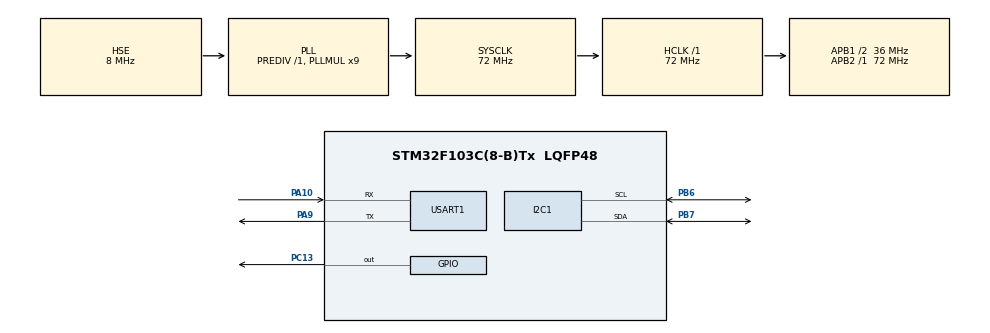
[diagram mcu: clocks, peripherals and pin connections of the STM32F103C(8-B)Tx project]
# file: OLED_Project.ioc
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Mcu.Family=STM32F1
Mcu.Name=STM32F103C(8-B)Tx
Mcu.Package=LQFP48
NVIC.PriorityGroup=NVIC_PRIORITYGROUP_4
PA10.Mode=Asynchronous
PA10.Signal=USART1_RX
PA13.Mode=Serial_Wire
PA13.Signal=SYS_JTMS-SWDIO
PA14.Mode=Serial_Wire
PA14.Signal=SYS_JTCK-SWCLK
PA9.Mode=Asynchronous
PA9.Signal=USART1_TX
PB6.Mode=I2C
PB6.Signal=I2C1_SCL
PB7.Mode=I2C
PB7.Signal=I2C1_SDA
PC13-TAMPER-RTC.Signal=GPIO_Output
PD0-OSC_IN.Mode=HSE-External-Oscillator
PD0-OSC_IN.Signal=RCC_OSC_IN
PD1-OSC_OUT.Mode=HSE-External-Oscillator
PD1-OSC_OUT.Signal=RCC_OSC_OUT
ProjectManager.HeapSize=0x200
ProjectManager.StackSize=0x400
ProjectManager.TargetToolchain=MDK-ARM V5
RCC.AHBFreq_Value=72000000
RCC.APB1CLKDivider=RCC_HCLK_DIV2
RCC.APB1Freq_Value=36000000
RCC.APB1TimFreq_Value=72000000
RCC.APB2Freq_Value=72000000
RCC.APB2TimFreq_Value=72000000
RCC.HCLKFreq_Value=72000000
RCC.PLLMUL=RCC_PLL_MUL9
RCC.PLLSourceVirtual=RCC_PLLSOURCE_HSE
RCC.SYSCLKFreq_VALUE=72000000
RCC.SYSCLKSource=RCC_SYSCLKSOURCE_PLLCLK
RCC.USBFreq_Value=72000000
USART1.VirtualMode=VM_ASYNC
board=custom

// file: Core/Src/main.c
#include "main.h"
#include "i2c.h"
#include "usart.h"
#include "gpio.h"
#include <stdio.h>
#include <string.h>

void SystemClock_Config(void);
uint8_t OLED_Test_Communication(void);

int main(void)
{
  HAL_Init();
  SystemClock_Config();
  MX_GPIO_Init();
  MX_I2C1_Init();
  MX_USART1_UART_Init();

  /* USER CODE BEGIN 2 */
  // 最基础的测试 - 不依赖任何复杂逻辑
  uint8_t test_msg[] = "!!! 基础硬件测试 !!!\r\n";
  HAL_UART_Transmit(&huart1, test_msg, sizeof(test_msg)-1, 1000);

  // 测试LED
  HAL_GPIO_WritePin(GPIOC, GPIO_PIN_13, GPIO_PIN_SET);
  uint8_t led_msg[] = "LED应该亮了\r\n";
  HAL_UART_Transmit(&huart1, led_msg, sizeof(led_msg)-1, 1000);
  HAL_Delay(1000);

  HAL_GPIO_WritePin(GPIOC, GPIO_PIN_13, GPIO_PIN_RESET);
  uint8_t led_off[] = "LED应该灭了\r\n";
  HAL_UART_Transmit(&huart1, led_off, sizeof(led_off)-1, 1000);
  HAL_Delay(1000);

  // 测试I2C扫描
  uint8_t scan_msg[] = "开始I2C设备扫描...\r\n";
  HAL_UART_Transmit(&huart1, scan_msg, sizeof(scan_msg)-1, 1000);

  uint8_t found = 0;
  for(uint8_t addr = 1; addr < 127; addr++)
  {
      if(HAL_I2C_IsDeviceReady(&hi2c1, addr << 1, 3, 10) == HAL_OK)
      {
          uint8_t device_msg[30];
          int len = sprintf((char*)device_msg, "发现设备: 0x%02X\r\n", addr);
          HAL_UART_Transmit(&huart1, device_msg, len, 1000);
          found++;
      }
  }

  if(found == 0)
  {
      uint8_t no_devices[] = "!!! 未发现任何I2C设备 !!!\r\n";
      HAL_UART_Transmit(&huart1, no_devices, sizeof(no_devices)-1, 1000);
  }
  else
  {
      uint8_t found_msg[30];
      int len = sprintf((char*)found_msg, "扫描完成，发现 %d 个设备\r\n", found);
      HAL_UART_Transmit(&huart1, found_msg, len, 1000);
  }

  // OLED专用测试
  uint8_t oled_test_msg[] = "\r\n=== OLED通信测试 ===\r\n";
  HAL_UART_Transmit(&huart1, oled_test_msg, sizeof(oled_test_msg)-1, 1000);

  uint8_t oled_result = OLED_Test_Communication();
  if(oled_result == 0)
  {
      uint8_t oled_ok[] = "? OLED通信正常！\r\n";
      HAL_UART_Transmit(&huart1, oled_ok, sizeof(oled_ok)-1, 1000);
  }
  else
  {
      uint8_t oled_fail[60];
      int len = sprintf((char*)oled_fail, "? OLED通信失败！错误代码: %d\r\n", oled_result);
      HAL_UART_Transmit(&huart1, oled_fail, len, 1000);

      // 根据错误代码给出建议
      if(oled_result == 1)
      {
          uint8_t suggestion[] = "建议: 尝试I2C地址 0x3D\r\n";
          HAL_UART_Transmit(&huart1, suggestion, sizeof(suggestion)-1, 1000);
      }
      else if(oled_result == 2)
      {
          uint8_t suggestion[] = "建议: 检查电源和上拉电阻\r\n";
          HAL_UART_Transmit(&huart1, suggestion, sizeof(suggestion)-1, 1000);
      }
  }

  uint8_t ready_msg[] = "系统就绪，进入主循环\r\n";
  HAL_UART_Transmit(&huart1, ready_msg, sizeof(ready_msg)-1, 1000);
  /* USER CODE END 2 */

  /* USER CODE BEGIN WHILE */
  uint32_t counter = 0;
  while (1)
  {
    // 简单的心跳信号
    HAL_GPIO_TogglePin(GPIOC, GPIO_PIN_13);

    uint8_t heartbeat[40];
    int len = sprintf((char*)heartbeat, "心跳: %lu, OLED状态: %s\r\n",
                     counter++,
                     (OLED_Test_Communication() == 0) ? "正常" : "异常");
    HAL_UART_Transmit(&huart1, heartbeat, len, 1000);

    HAL_Delay(1000);
  }
  /* USER CODE END WHILE */
}

// OLED通信测试函数
uint8_t OLED_Test_Communication(void)
{
    uint8_t oled_addresses[] = {0x3C, 0x3D, 0x78, 0x7A};
    char* address_names[] = {"0x3C", "0x3D", "0x78", "0x7A"};

    uint8_t found = 0;

    // 先扫描所有地址，显示详细结果
    uint8_t scan_msg[] = "详细扫描OLED地址:\r\n";
    HAL_UART_Transmit(&huart1, scan_msg, sizeof(scan_msg)-1, 1000);

    for(int i = 0; i < 4; i++)
    {
        uint8_t msg[60];
        HAL_I2C_StateTypeDef i2c_state = HAL_I2C_GetState(&hi2c1);

        int len = sprintf((char*)msg, "测试地址 %s (0x%02X)... ", address_names[i], oled_addresses[i]);
        HAL_UART_Transmit(&huart1, msg, len, 1000);

        HAL_StatusTypeDef result = HAL_I2C_IsDeviceReady(&hi2c1, oled_addresses[i], 3, 10);

        if(result == HAL_OK)
        {
            uint8_t found_msg[] = "设备响应 ?\r\n";
            HAL_UART_Transmit(&huart1, found_msg, sizeof(found_msg)-1, 1000);
            found = 1;

            // 测试发送命令
            uint8_t test_cmd = 0xAE; // 关闭显示
            if(HAL_I2C_Master_Transmit(&hi2c1, oled_addresses[i], &test_cmd, 1, 100) == HAL_OK)
            {
                uint8_t cmd_msg[] = "  命令发送成功 ?\r\n";
                HAL_UART_Transmit(&huart1, cmd_msg, sizeof(cmd_msg)-1, 1000);
            }
            else
            {
                uint8_t cmd_msg[] = "  命令发送失败 ?\r\n";
                HAL_UART_Transmit(&huart1, cmd_msg, sizeof(cmd_msg)-1, 1000);
            }
            break;
        }
        else
        {
            uint8_t not_found_msg[] = "无响应 ?\r\n";
            HAL_UART_Transmit(&huart1, not_found_msg, sizeof(not_found_msg)-1, 1000);
        }
    }

    if(!found)
    {
        // 提供详细的故障排除指南
        uint8_t trouble_msg[] = "\r\n!!! OLED连接问题 !!!\r\n";
        HAL_UART_Transmit(&huart1, trouble_msg, sizeof(trouble_msg)-1, 1000);

        uint8_t checklist[] = "请检查:\r\n";
        HAL_UART_Transmit(&huart1, checklist, sizeof(checklist)-1, 1000);

        uint8_t item1[] = "1. ? OLED VCC 连接到 3.3V (不是5V!)\r\n";
        HAL_UART_Transmit(&huart1, item1, sizeof(item1)-1, 1000);

        uint8_t item2[] = "2. ? OLED GND 连接到 GND\r\n";
        HAL_UART_Transmit(&huart1, item2, sizeof(item2)-1, 1000);

        uint8_t item3[] = "3. ? OLED SDA 连接到 PB7\r\n";
        HAL_UART_Transmit(&huart1, item3, sizeof(item3)-1, 1000);

        uint8_t item4[] = "4. ? OLED SCL 连接到 PB6\r\n";
        HAL_UART_Transmit(&huart1, item4, sizeof(item4)-1, 1000);

        uint8_t item5[] = "5. ? I2C总线是否有4.7kΩ上拉电阻?\r\n";
        HAL_UART_Transmit(&huart1, item5, sizeof(item5)-1, 1000);

        uint8_t item6[] = "6. ? OLED模块电源指示灯是否亮?\r\n";
        HAL_UART_Transmit(&huart1, item6, sizeof(item6)-1, 1000);

        uint8_t item7[] = "7. ? 尝试另一个OLED模块?\r\n";
        HAL_UART_Transmit(&huart1, item7, sizeof(item7)-1, 1000);

        return 1;
    }

    return 0;
}

void SystemClock_Config(void)
{
  RCC_OscInitTypeDef RCC_OscInitStruct = {0};
  RCC_ClkInitTypeDef RCC_ClkInitStruct = {0};

  RCC_OscInitStruct.OscillatorType = RCC_OSCILLATORTYPE_HSE;
  RCC_OscInitStruct.HSEState = RCC_HSE_ON;
  RCC_OscInitStruct.HSEPredivValue = RCC_HSE_PREDIV_DIV1;
  RCC_OscInitStruct.HSIState = RCC_HSI_ON;
  RCC_OscInitStruct.PLL.PLLState = RCC_PLL_ON;
  RCC_OscInitStruct.PLL.PLLSource = RCC_PLLSOURCE_HSE;
  RCC_OscInitStruct.PLL.PLLMUL = RCC_PLL_MUL9;
  if (HAL_RCC_OscConfig(&RCC_OscInitStruct) != HAL_OK)
  {
    Error_Handler();
  }

  RCC_ClkInitStruct.ClockType = RCC_CLOCKTYPE_HCLK|RCC_CLOCKTYPE_SYSCLK|RCC_CLOCKTYPE_PCLK1|RCC_CLOCKTYPE_PCLK2;
  RCC_ClkInitStruct.SYSCLKSource = RCC_SYSCLKSOURCE_PLLCLK;
  RCC_ClkInitStruct.AHBCLKDivider = RCC_SYSCLK_DIV1;
  RCC_ClkInitStruct.APB1CLKDivider = RCC_HCLK_DIV2;
  RCC_ClkInitStruct.APB2CLKDivider = RCC_HCLK_DIV1;

  if (HAL_RCC_ClockConfig(&RCC_ClkInitStruct, FLASH_LATENCY_2) != HAL_OK)
  {
    Error_Handler();
  }
}

void Error_Handler(void)
{
  __disable_irq();
  while (1)
  {
  }
}
